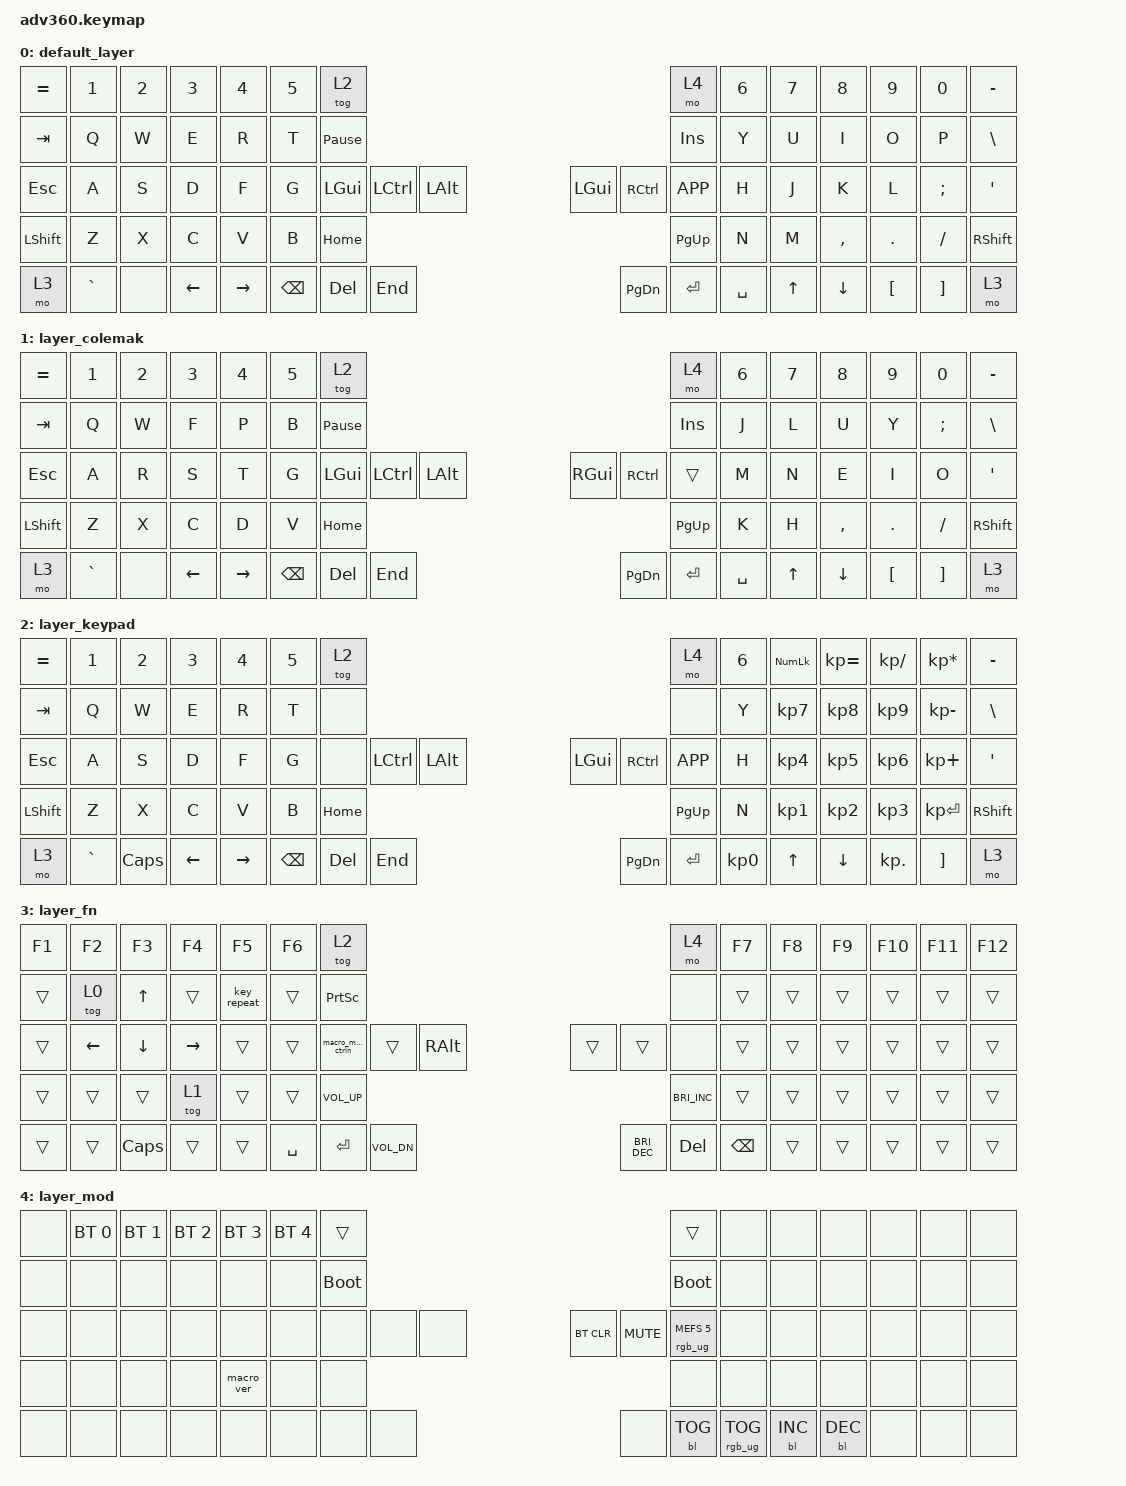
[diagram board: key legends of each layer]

/*
 * Copyright (c) 2020 The ZMK Contributors
 *
 * SPDX-License-Identifier: MIT
 */


/* THIS FILE WAS GENERATED!
 *
 * This file was generated automatically. You may or may not want to
 * edit it directly.
 */

#include <behaviors.dtsi>
#include <dt-bindings/zmk/keys.h>
#include <dt-bindings/zmk/bt.h>
#include <dt-bindings/zmk/rgb.h>
#include <dt-bindings/zmk/backlight.h>

/ {
  behaviors {
    #include "macros.dtsi"
    #include "version.dtsi"

    hm: homerow_mods {
        compatible = "zmk,behavior-hold-tap";
        label = "HOMEROW_MODS";
        #binding-cells = <2>;
        tapping-term-ms = <200>;
        quick_tap_ms = <175>;
        flavor = "tap-preferred";
        bindings = <&kp>, <&kp>;
    };
  };

    keymap {
        compatible = "zmk,keymap";


        default_layer {
            bindings = <
 &kp EQUAL     &kp N1  &kp N2    &kp N3     &kp N4  &kp N5                     &tog 2                                                                 &mo 4  &kp N6  &kp N7     &kp N8    &kp N9    &kp N0  &kp MINUS
   &kp TAB      &kp Q   &kp W     &kp E      &kp R   &kp T            &kp PAUSE_BREAK                                                               &kp INS   &kp Y   &kp U      &kp I     &kp O     &kp P   &kp BSLH
   &kp ESC      &kp A   &kp S     &kp D      &kp F   &kp G                   &kp LGUI  &kp LCTRL  &kp LALT                   &kp LGUI  &kp RCTRL  &kp K_APP   &kp H   &kp J      &kp K     &kp L  &kp SEMI    &kp SQT
 &kp LSHFT      &kp Z   &kp X     &kp C      &kp V   &kp B                                        &kp HOME                  &kp PG_UP                         &kp N   &kp M  &kp COMMA   &kp DOT  &kp FSLH  &kp RSHFT
     &mo 3  &kp GRAVE   &none  &kp LEFT  &kp RIGHT                           &kp BSPC    &kp DEL   &kp END                  &kp PG_DN  &kp ENTER  &kp SPACE          &kp UP   &kp DOWN  &kp LBKT  &kp RBKT      &mo 3
            >;
        };

        layer_colemak {
            bindings = <
 &kp EQUAL     &kp N1  &kp N2    &kp N3     &kp N4  &kp N5                     &tog 2                                                                 &mo 4  &kp N6  &kp N7     &kp N8    &kp N9    &kp N0  &kp MINUS
   &kp TAB      &kp Q   &kp W     &kp F      &kp P   &kp B            &kp PAUSE_BREAK                                                               &kp INS   &kp J   &kp L      &kp U     &kp Y  &kp SEMI   &kp BSLH
   &kp ESC      &kp A   &kp R     &kp S      &kp T   &kp G                   &kp LGUI  &kp LCTRL  &kp LALT                   &kp RGUI  &kp RCTRL     &trans   &kp M   &kp N      &kp E     &kp I     &kp O    &kp SQT
 &kp LSHFT      &kp Z   &kp X     &kp C      &kp D   &kp V                                        &kp HOME                  &kp PG_UP                         &kp K   &kp H  &kp COMMA   &kp DOT  &kp FSLH  &kp RSHFT
     &mo 3  &kp GRAVE   &none  &kp LEFT  &kp RIGHT                           &kp BSPC    &kp DEL   &kp END                  &kp PG_DN  &kp ENTER  &kp SPACE          &kp UP   &kp DOWN  &kp LBKT  &kp RBKT      &mo 3
            >;
        };

        layer_keypad {
            bindings = <
 &kp EQUAL     &kp N1    &kp N2    &kp N3     &kp N4  &kp N5              &tog 2                                                                 &mo 4  &kp N6  &kp KP_NUM  &kp KP_EQUAL  &kp KP_DIVIDE  &kp KP_MULTIPLY  &kp MINUS
   &kp TAB      &kp Q     &kp W     &kp E      &kp R   &kp T               &none                                                                 &none   &kp Y   &kp KP_N7     &kp KP_N8      &kp KP_N9     &kp KP_MINUS   &kp BSLH
   &kp ESC      &kp A     &kp S     &kp D      &kp F   &kp G               &none  &kp LCTRL  &kp LALT                   &kp LGUI  &kp RCTRL  &kp K_APP   &kp H   &kp KP_N4     &kp KP_N5      &kp KP_N6      &kp KP_PLUS    &kp SQT
 &kp LSHFT      &kp Z     &kp X     &kp C      &kp V   &kp B                                 &kp HOME                  &kp PG_UP                         &kp N   &kp KP_N1     &kp KP_N2      &kp KP_N3     &kp KP_ENTER  &kp RSHFT
     &mo 3  &kp GRAVE  &kp CAPS  &kp LEFT  &kp RIGHT                    &kp BSPC    &kp DEL   &kp END                  &kp PG_DN  &kp ENTER  &kp KP_N0              &kp UP      &kp DOWN     &kp KP_DOT         &kp RBKT      &mo 3
            >;
        };

        layer_fn {
            bindings = <
 &kp F1    &kp F2    &kp F3     &kp F4       &kp F5  &kp F6                        &tog 2                                                                                  &mo 4  &kp F7  &kp F8  &kp F9  &kp F10  &kp F11  &kp F12
 &trans    &tog 0    &kp UP     &trans  &key_repeat  &trans               &kp PRINTSCREEN                                                                                  &none  &trans  &trans  &trans   &trans   &trans   &trans
 &trans  &kp LEFT  &kp DOWN  &kp RIGHT       &trans  &trans            &macro_macro_ctrln     &trans      &kp RALT                                &trans   &trans          &none  &trans  &trans  &trans   &trans   &trans   &trans
 &trans    &trans    &trans     &tog 1       &trans  &trans                                           &kp C_VOL_UP                  &kp C_BRIGHTNESS_INC                          &trans  &trans  &trans   &trans   &trans   &trans
 &trans    &trans  &kp CAPS     &trans       &trans                             &kp SPACE  &kp ENTER  &kp C_VOL_DN                  &kp C_BRIGHTNESS_DEC  &kp DEL  &kp BACKSPACE          &trans  &trans   &trans   &trans   &trans
            >;
        };

        layer_mod {
            bindings = <
  &none  &bt BT_SEL 0  &bt BT_SEL 1  &bt BT_SEL 2  &bt BT_SEL 3  &bt BT_SEL 4                 &trans                                                                          &trans   &none       &none       &none   &none   &none   &none
  &none         &none         &none         &none         &none         &none            &bootloader                                                                     &bootloader   &none       &none       &none   &none   &none   &none
  &none         &none         &none         &none         &none         &none                  &none   &none   &none                  &bt BT_CLR  &kp C_MUTE  &rgb_ug RGB_MEFS_CMD 5   &none       &none       &none   &none   &none   &none
  &none         &none         &none         &none    &macro_ver         &none                                  &none                       &none                                       &none       &none       &none   &none   &none   &none
  &none         &none         &none         &none         &none                                &none   &none   &none                       &none  &bl BL_TOG         &rgb_ug RGB_TOG          &bl BL_INC  &bl BL_DEC   &none   &none   &none
            >;
        };

    };
};
